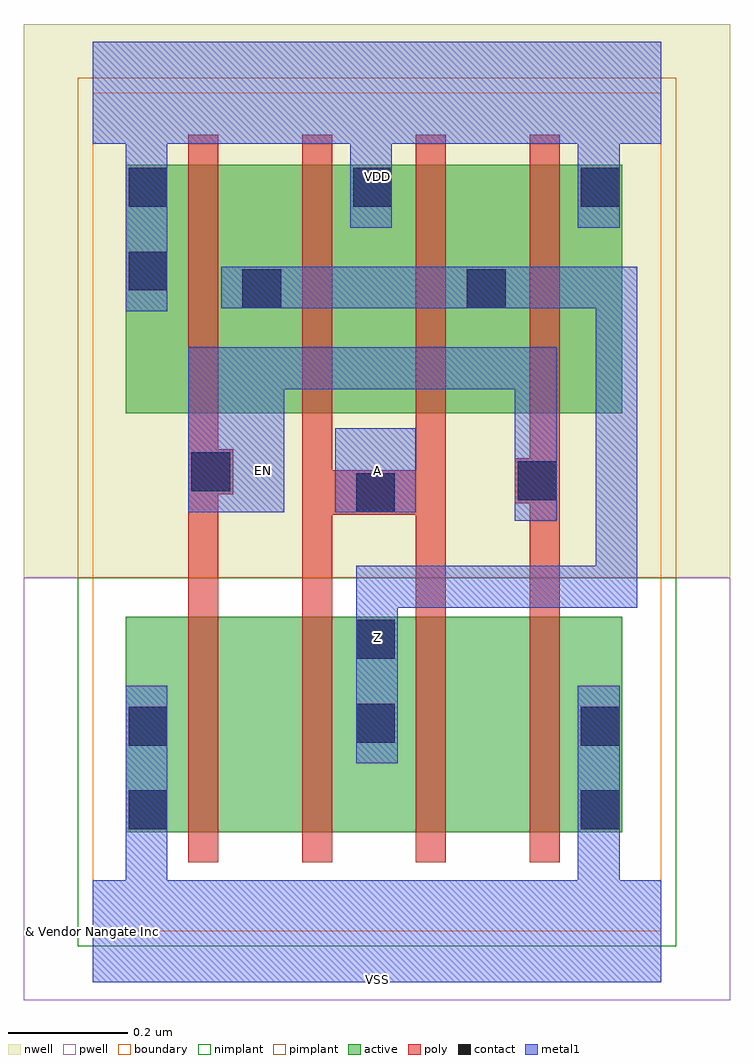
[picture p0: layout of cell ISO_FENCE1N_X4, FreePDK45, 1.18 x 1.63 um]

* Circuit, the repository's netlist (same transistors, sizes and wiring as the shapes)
* 
* ******************************************************************************
* *                                                                            *
* *                   Copyright (C) 2004-2011, Nangate Inc.                    *
* *                           All rights reserved.                             *
* *                                                                            *
* * Nangate and the Nangate logo are trademarks of Nangate Inc.                *
* *                                                                            *
* * All trademarks, logos, software marks, and trade names (collectively the   *
* * "Marks") in this program are proprietary to Nangate or other respective    *
* * owners that have granted Nangate the right and license to use such Marks.  *
* * You are not permitted to use the Marks without the prior written consent   *
* * of Nangate or such third party that may own the Marks.                     *
* *                                                                            *
* * This file has been provided pursuant to a License Agreement containing     *
* * restrictions on its use. This file contains valuable trade secrets and     *
* * proprietary information of Nangate Inc., and is protected by U.S. and      *
* * international laws and/or treaties.                                        *
* *                                                                            *
* * The copyright notice(s) in this file does not indicate actual or intended  *
* * publication of this file.                                                  *
* *                                                                            *
* *     NGLibraryCreator, v2010.08-HR32-SP3-2010-08-05 - build 1009061800      *
* *                                                                            *
* ******************************************************************************
* 
* 
* Running on server08.nangate.com for user Giancarlo Franciscatto (gfr).
* Local time is now Thu, 6 Jan 2011, 19:45:46.
* Main process id is 3320.
*
********************************************************************************
*                                                                              *
* Cellname:   ISO_FENCE1N_X4.                                                  *
*                                                                              *
* Technology: NCSU FreePDK 45nm.                                               *
* Format:     Cdl.                                                             *
*                                                                              *
* Written on server08.nangate.com for user Giancarlo Franciscatto (gfr)        *
* at 19:45:46 on Thu, 6 Jan 2011.                                              *
*                                                                              *
********************************************************************************
.SUBCKT ISO_FENCE1N_X4 A EN Z VDD VSS 
*.PININFO A:I EN:I Z:O VDD:P VSS:G 
*.EQN Z=!(A * EN)
M_i_0 net_000 EN VSS VSS NMOS_VTL W=0.360000U L=0.050000U
M_i_5 Z A net_000 VSS NMOS_VTL W=0.360000U L=0.050000U
M_i_11 net_001 A Z VSS NMOS_VTL W=0.360000U L=0.050000U
M_i_15 VSS EN net_001 VSS NMOS_VTL W=0.360000U L=0.050000U
M_i_21 Z EN VDD VDD PMOS_VTL W=0.415000U L=0.050000U
M_i_27 VDD A Z VDD PMOS_VTL W=0.415000U L=0.050000U
M_i_33 Z A VDD VDD PMOS_VTL W=0.415000U L=0.050000U
M_i_38 VDD EN Z VDD PMOS_VTL W=0.415000U L=0.050000U
.ENDS 

********************************************************************************
*
* END
*
********************************************************************************

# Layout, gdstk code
import gdstk
lib = gdstk.Library(unit=1e-6, precision=1e-10)
def R(c, l, rs):  # rectangles x0, y0, x1, y1
    for r in rs: c.add(gdstk.rectangle(r[:2], r[2:], *l))
def P(c, l, *ps):  # polygons
    for p in ps: c.add(gdstk.Polygon(p, *l))
active = (1, 0)
pwell = (2, 0)
nwell = (3, 0)
nimplant = (4, 0)
pimplant = (5, 0)
poly = (9, 0)
contact = (10, 0)
metal1 = (11, 0)
boundary = (235, 0)

iso_fence1n_x4 = lib.new_cell('ISO_FENCE1N_X4')
R(iso_fence1n_x4, active, [(0.055,0.165,0.885,0.525), (0.055,0.865,0.885,1.28)])
R(iso_fence1n_x4, pwell, [(-0.115,-0.115,1.065,0.59)])
R(iso_fence1n_x4, nwell, [(-0.115,0.59,1.065,1.515)])
R(iso_fence1n_x4, nimplant, [(-0.025,-0.025,0.975,0.59)])
R(iso_fence1n_x4, pimplant, [(-0.025,0.59,0.975,1.425)])
P(iso_fence1n_x4, poly, [(0.16,0.115),(0.21,0.115),(0.21,0.73),(0.235,0.73),(0.235,0.805),(0.21,0.805),(0.21,1.33),(0.16,1.33)],
  [(0.35,0.115),(0.4,0.115),(0.4,0.695),(0.54,0.695),(0.54,0.115),(0.59,0.115),(0.59,1.33),(0.54,1.33),(0.54,0.77),(0.4,0.77),(0.4,1.33),(0.35,1.33)],
  [(0.705,0.715),(0.73,0.715),(0.73,0.115),(0.78,0.115),(0.78,1.33),(0.73,1.33),(0.73,0.79),(0.705,0.79)])
R(iso_fence1n_x4, contact, [(0.06,0.17,0.125,0.235), (0.815,0.17,0.88,0.235), (0.06,0.31,0.125,0.375), (0.815,0.31,0.88,0.375), (0.44,0.315,0.505,0.38), (0.44,0.455,0.505,0.52), (0.44,0.7,0.505,0.765), (0.71,0.72,0.775,0.785), (0.165,0.735,0.23,0.8), (0.25,1.04,0.315,1.105), (0.625,1.04,0.69,1.105), (0.06,1.07,0.125,1.135), (0.06,1.21,0.125,1.275), (0.435,1.21,0.5,1.275), (0.815,1.21,0.88,1.275)])
R(iso_fence1n_x4, metal1, [(0.405,0.7,0.54,0.84)])
P(iso_fence1n_x4, metal1, [(0.16,0.7),(0.32,0.7),(0.32,0.905),(0.705,0.905),(0.705,0.685),(0.775,0.685),(0.775,0.975),(0.16,0.975)],
  [(0.215,1.04),(0.84,1.04),(0.84,0.61),(0.44,0.61),(0.44,0.28),(0.51,0.28),(0.51,0.54),(0.91,0.54),(0.91,1.11),(0.215,1.11)],
  [(0,-0.085),(0.95,-0.085),(0.95,0.085),(0.88,0.085),(0.88,0.41),(0.81,0.41),(0.81,0.085),(0.125,0.085),(0.125,0.41),(0.055,0.41),(0.055,0.085),(0,0.085)],
  [(0,1.315),(0.055,1.315),(0.055,1.035),(0.125,1.035),(0.125,1.315),(0.43,1.315),(0.43,1.175),(0.5,1.175),(0.5,1.315),(0.81,1.315),(0.81,1.175),(0.88,1.175),(0.88,1.315),(0.95,1.315),(0.95,1.485),(0,1.485)])
R(iso_fence1n_x4, boundary, [(0,0,0.95,1.4)])
iso_fence1n_x4.add(gdstk.Label('A', (0.475,0.77), layer=11, texttype=0))
iso_fence1n_x4.add(gdstk.Label('EN', (0.285,0.77), layer=11, texttype=0))
iso_fence1n_x4.add(gdstk.Label('VDD', (0.475,1.26), layer=11, texttype=0))
iso_fence1n_x4.add(gdstk.Label('VSS', (0.475,-0.08), layer=11, texttype=0))
iso_fence1n_x4.add(gdstk.Label('Z', (0.475,0.49), layer=11, texttype=0))
iso_fence1n_x4.add(gdstk.Label('& Vendor Nangate Inc', (0,0), layer=63, texttype=63))
iso_fence1n_x4.add(gdstk.Label('& Product Open Cell Library', (0,0), layer=63, texttype=63))
iso_fence1n_x4.add(gdstk.Label('& Version 2010_12', (0,0), layer=63, texttype=63))
iso_fence1n_x4.add(gdstk.Label('& Instance ISO_FENCE1N_X4', (0,0), layer=63, texttype=63))

lib.write_gds('ISO_FENCE1N_X4.gds')
